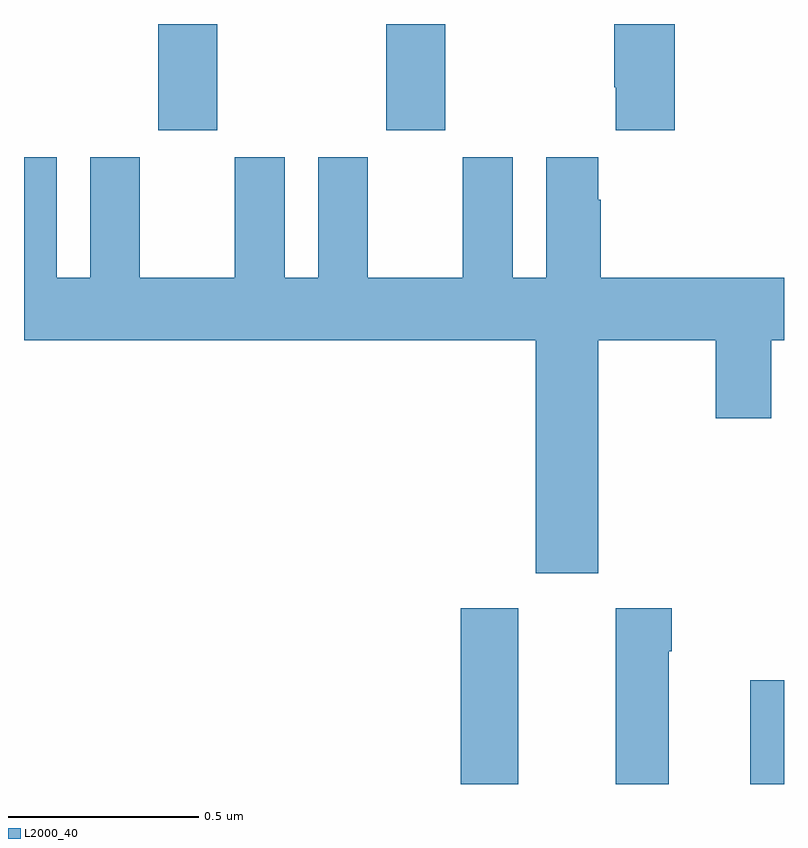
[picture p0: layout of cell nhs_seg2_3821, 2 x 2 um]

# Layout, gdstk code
import gdstk
lib = gdstk.Library(unit=1e-6, precision=1e-09)
def R(c, l, rs):  # rectangles x0, y0, x1, y1
    for r in rs: c.add(gdstk.rectangle(r[:2], r[2:], *l))
def P(c, l, *ps):  # polygons
    for p in ps: c.add(gdstk.Polygon(p, *l))
L2000_40 = (2000, 40)

nhs_seg2_3821 = lib.new_cell('nhs_seg2_3821')
R(nhs_seg2_3821, L2000_40, [(159.149,647.8,159.301,648.262), (159.911,647.8,160,648.073), (158.353,649.521,158.508,649.8), (158.953,649.521,159.108,649.8)])
P(nhs_seg2_3821, L2000_40, [(159.713,649.8),(159.553,649.8),(159.553,649.633),(159.557,649.633),(159.557,649.521),(159.713,649.521)],
  [(159.511,648.968),(159.82,648.968),(159.82,648.762),(159.967,648.762),(159.967,648.968),(160,648.968),(160,649.132),(159.518,649.132),(159.518,649.337),(159.511,649.337),(159.511,649.45),(159.374,649.45),(159.374,649.132),(159.286,649.132),(159.286,649.45),(159.155,649.45),(159.155,649.132),(158.905,649.132),(158.905,649.45),(158.774,649.45),(158.774,649.132),(158.686,649.132),(158.686,649.45),(158.555,649.45),(158.555,649.132),(158.305,649.132),(158.305,649.45),(158.174,649.45),(158.174,649.132),(158.086,649.132),(158.086,649.45),(158,649.45),(158,648.968),(159.347,648.968),(159.347,648.354),(159.511,648.354)],
  [(159.697,648.149),(159.705,648.149),(159.705,648.262),(159.557,648.262),(159.557,647.8),(159.697,647.8)])

lib.write_gds('nhs_seg2_3821.gds')
